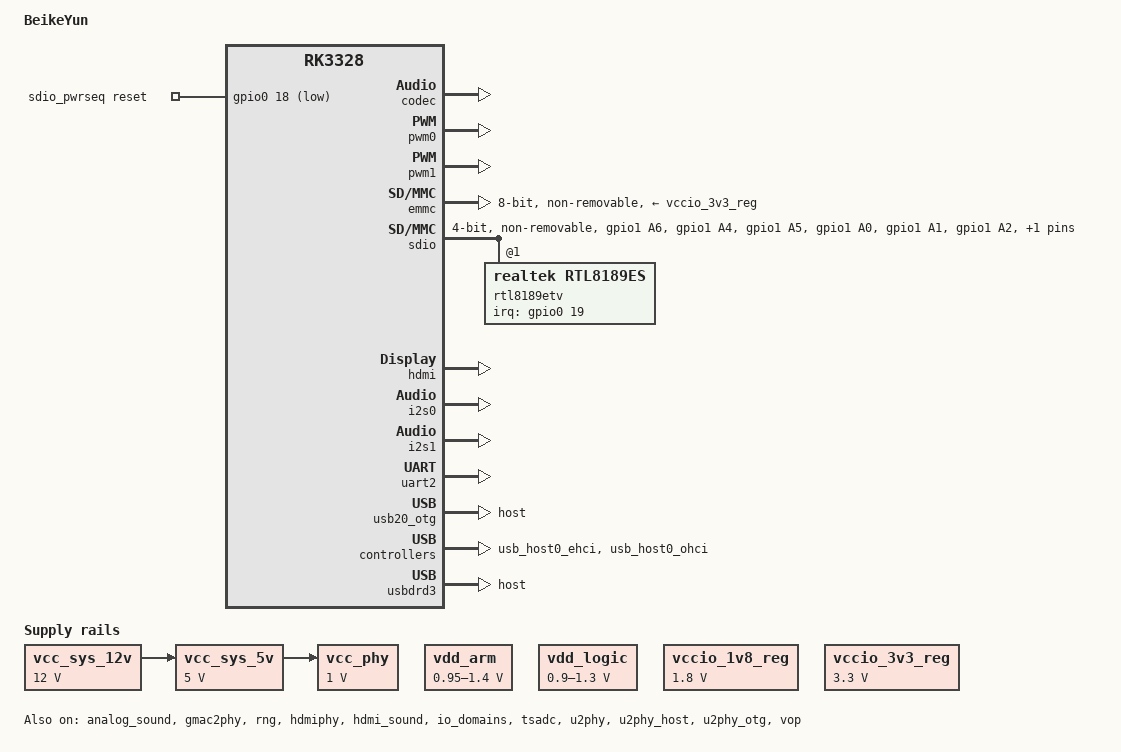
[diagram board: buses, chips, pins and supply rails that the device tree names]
// SPDX-License-Identifier: (GPL-2.0+ OR MIT)
/*
 * Copyright (c) 2017 PINE64
 */

/dts-v1/;
#include "rk3328.dtsi"

/ {
	model = "BeikeYun";
	compatible = "pine64,rock64", "rockchip,rk3328";

 	aliases {
		mmc0 = &emmc;
		mmc1 = &sdmmc;
		// mmc2 = &sdio;
	};

	chosen {
		bootargs = "earlycon=uart8250,mmio32,0xff130000";
		stdout-path = "serial2:1500000n8";
	};

	/*
	leds {
		status = "okay";
		compatible = "gpio-leds";
		red-led {
			label = "red_led";
			gpios = <&gpio2 RK_PD2 GPIO_ACTIVE_HIGH>;
			linux,default-trigger = "mmc0";
			default-state = "on";
		};
		white-led {
			label = "white_led";
			gpios = <&gpio2 RK_PC7 GPIO_ACTIVE_HIGH>;
			linux,default-trigger = "none";
			default-state = "on";
		};
	};
	*/

	/*
	gmac_clkin: external-gmac-clock {
		compatible = "fixed-clock";
		clock-frequency = <125000000>;
		clock-output-names = "gmac_clkin";
		#clock-cells = <0>;
	};
	*/

	sdio_pwrseq: sdio-pwrseq {
		compatible = "mmc-pwrseq-simple";
		pinctrl-names = "default";
		pinctrl-0 = <&wifi_enable_h>;
		reset-gpios = <&gpio0 18 GPIO_ACTIVE_LOW>;	/* WIFI,poweren_gpio */
	};

	vcc_sys_12v: vcc-sys-12v-regulator {
		compatible = "regulator-fixed";
		regulator-name = "vcc_sys_12v";
		regulator-min-microvolt = <12000000>;
		regulator-max-microvolt = <12000000>;
		regulator-always-on;
		regulator-boot-on;
	};

	vcc_sys_5v: vcc-sys-5v-regulator {
		compatible = "regulator-fixed";
		regulator-name = "vcc_sys_5v";
		regulator-min-microvolt = <5000000>;
		regulator-max-microvolt = <5000000>;
		regulator-always-on;
		regulator-boot-on;
		vin-supply = <&vcc_sys_12v>;
	};

	vcc_phy: vcc-phy-regulator {
		compatible = "regulator-fixed";
		regulator-name = "vcc_phy";
		regulator-min-microvolt = <1000000>;
		regulator-max-microvolt = <1000000>;
		regulator-always-on;
		regulator-boot-on;
		vin-supply = <&vcc_sys_5v>;
	};

	vdd_arm: vdd-center {
		compatible = "pwm-regulator";
		rockchip,pwm_id = <0>;
		rockchip,pwm_voltage = <1250000>;
		pwms = <&pwm0 0 5000 1>;
		regulator-name = "vcc_arm";
		regulator-min-microvolt = <950000>;
		regulator-max-microvolt = <1400000>;
		regulator-settling-time-up-us = <250>;
		regulator-ramp-delay = <12500>;
		regulator-always-on;
		regulator-boot-on;
	};

	vdd_logic: vdd-log {
		compatible = "pwm-regulator";
		rockchip,pwm_id = <1>;
		rockchip,pwm_voltage = <1100000>;
		pwms = <&pwm1 0 5000 1>;
		regulator-name = "vcc_log";
		regulator-min-microvolt = <900000>;
		regulator-max-microvolt = <1300000>;
		regulator-settling-time-up-us = <250>;
		regulator-ramp-delay = <12500>;
		regulator-always-on;
		regulator-boot-on;
	};

	regulators {
		compatible = "simple-bus";
		#address-cells = <1>;
		#size-cells = <0>;

		vccio_1v8_reg: regulator@0 {
			compatible = "regulator-fixed";
			regulator-name = "vccio_1v8";
			regulator-min-microvolt = <1800000>;
			regulator-max-microvolt = <1800000>;
			regulator-always-on;
		};

		vccio_3v3_reg: regulator@1 {
			compatible = "regulator-fixed";
			regulator-name = "vccio_3v3";
			regulator-min-microvolt = <3300000>;
			regulator-max-microvolt = <3300000>;
			regulator-always-on;
		};
	};
};

&analog_sound {
	status = "okay";
};

&codec {
	status = "okay";
};

&cpu0 {
	cpu-supply = <&vdd_arm>;
};

&cpu1 {
	cpu-supply = <&vdd_arm>;
};

&cpu2 {
	cpu-supply = <&vdd_arm>;
};

&cpu3 {
	cpu-supply = <&vdd_arm>;
};

&pwm0 {
	status = "okay";
};

&pwm1 {
	status = "okay";
};

&emmc {
	max-frequency = <150000000>;
	bus-width = <8>;
	cap-mmc-highspeed;
	mmc-hs200-1_8v;
	non-removable;
	num-slots = <1>;
	pinctrl-names = "default";
	pinctrl-0 = <&emmc_clk &emmc_cmd &emmc_bus8>;
	vmmc-supply = <&vccio_3v3_reg>;
	vqmmc-supply = <&vccio_1v8_reg>;
	status = "okay";
};

/* SDIO控制器配置 */
&sdio {
	status = "okay";
	#address-cells = <1>;
	#size-cells = <0>;
	pinctrl-names = "default", "idle";
	pinctrl-0 = <&sdmmc0_clk &sdmmc0_cmd &sdmmc0_dectn &sdmmc0_bus4>;
	pinctrl-1 = <&sdmmc0_idle>;
	clocks = <&cru HCLK_SDMMC>, <&cru SCLK_SDMMC>;
	clock-names = "biu", "ciu";
	clock-frequency = <100000000>;
	max-frequency = <100000000>;
	bus-width = <4>;
	cap-sd-highspeed;
	cap-sdio-irq;
	keep-power-in-suspend;
	mmc-pwrseq = <&sdio_pwrseq>;
	non-removable;
	no-sd;
	no-mmc;
	supports-sdio;
	ignore-pm-notify;
	supports-UHS_SDR104;
	sdio_vref = <1800>;	/* 1.8V */

	/* RTL8189ETV-CG设备节点 */
	rtl8189etv: wifi@1 {
		compatible = "realtek,rtl8189es";
		reg = <1>;
		interrupt-parent = <&gpio0>;
		interrupts = <19 IRQ_TYPE_EDGE_RISING>;  /* WIFI,host_wake_irq */
		interrupt-names = "host-wake";
	};
};

&gmac2phy {
	phy-supply = <&vccio_3v3_reg>;
	clock_in_out = "output";
	assigned-clock-rate = <50000000>;
	assigned-clocks = <&cru SCLK_MAC2PHY>;
	assigned-clock-parents = <&cru SCLK_MAC2PHY_SRC>;
	status = "okay";
};

&gmac2io {
	status = "disabled";
};

&gpu {
	mali-supply = <&vdd_logic>;
};

&rng {
	status = "okay";
};

&crypto {
	status = "disabled";
};

&hdmi {
	status = "okay";
	#sound-dai-cells = <0>;
	ddc-i2c-scl-high-time-ns = <9625>;
	ddc-i2c-scl-low-time-ns = <10000>;
};

&hdmiphy {
	status = "okay";
};

&hdmi_sound {
	status = "okay";
};

&i2s0 {
        status = "okay";
};

&i2s1 {
        status = "okay";
};

&codec {
        status = "okay";
};

&io_domains {
	status = "okay";

	vccio1-supply = <&vccio_3v3_reg>;
	vccio2-supply = <&vccio_1v8_reg>;
	vccio3-supply = <&vccio_3v3_reg>;
	vccio4-supply = <&vccio_1v8_reg>;
	vccio5-supply = <&vccio_3v3_reg>;
	vccio6-supply = <&vccio_3v3_reg>;
	pmuio-supply = <&vccio_3v3_reg>;
};

&pinctrl {

	usb2 {
		usb20_host_drv: usb20-host-drv {
			rockchip,pins = <0 RK_PA2 RK_FUNC_GPIO &pcfg_pull_none>;
		};
	};

	usb3 {
		usb30_host_drv: usb30-host-drv {
			rockchip,pins = <0 RK_PA0 RK_FUNC_GPIO &pcfg_pull_none>;
		};
	};

	wifi {
		wifi_enable_h: wifi-enable-h {
		rockchip,pins = <0 RK_PB2 RK_FUNC_GPIO &pcfg_pull_none>;  /* GPIO0_B2 */
		};
	};

	sdmmc0 {
		sdmmc0_clk: sdmmc0-clk {
			rockchip,pins = <1 RK_PA6 1 &pcfg_pull_none>;
		};
		sdmmc0_cmd: sdmmc0-cmd {
			rockchip,pins = <1 RK_PA4 1 &pcfg_pull_up>;
		};
		sdmmc0_dectn: sdmmc0-dectn {
			rockchip,pins = <1 RK_PA5 1 &pcfg_pull_up>;
		};
		sdmmc0_bus4: sdmmc0-bus4 {
			rockchip,pins = <1 RK_PA0 1 &pcfg_pull_up>,
					<1 RK_PA1 1 &pcfg_pull_up>,
					<1 RK_PA2 1 &pcfg_pull_up>,
					<1 RK_PA3 1 &pcfg_pull_up>;
		};
		sdmmc0_idle: sdmmc0-idle {
			rockchip,pins = <1 RK_PA0 RK_FUNC_GPIO &pcfg_pull_none>,
					<1 RK_PA1 RK_FUNC_GPIO &pcfg_pull_none>,
					<1 RK_PA2 RK_FUNC_GPIO &pcfg_pull_none>,
					<1 RK_PA3 RK_FUNC_GPIO &pcfg_pull_none>,
					<1 RK_PA4 RK_FUNC_GPIO &pcfg_pull_none>,
					<1 RK_PA5 RK_FUNC_GPIO &pcfg_pull_none>,
					<1 RK_PA6 RK_FUNC_GPIO &pcfg_pull_none>;
		};
    	};
};

&tsadc {
	rockchip,hw-tshut-mode = <0>;
	rockchip,hw-tshut-polarity = <0>;
	status = "okay";
};

&uart2 {
	status = "okay";
};

&u2phy {
	status = "okay";
};

&u2phy_host {
	status = "okay";
};

&u2phy_otg {
	status = "okay";
};

&usb20_otg {
	dr_mode = "host";
	status = "okay";
};

&usb_host0_ehci {
	status = "okay";
};

&usb_host0_ohci {
	status = "okay";
};

&usbdrd3 {
	dr_mode = "host";
	status = "okay";
};

&vop {
	status = "okay";
};

&vop_mmu {
	status = "okay";
};

&grf_gpio {
	status = "okay";
};

&cpu0_opp_table {

	rockchip,leakage-voltage-sel = <
		1   10    0
		11  254   1
	>;
	nvmem-cells = <&cpu_leakage>;
	nvmem-cell-names = "cpu_leakage";

	opp-408000000 {
		opp-hz = /bits/ 64 <408000000>;
		opp-microvolt = <985000>;
		clock-latency-ns = <40000>;
		opp-suspend;
		status = "disabled";
	};
	opp-600000000 {
		opp-hz = /bits/ 64 <600000000>;
		opp-microvolt = <1025000>;
		clock-latency-ns = <40000>;
	};
	opp-816000000 {
		opp-hz = /bits/ 64 <816000000>;
		opp-microvolt = <1075000>;
		clock-latency-ns = <40000>;
	};
	opp-1008000000 {
		opp-hz = /bits/ 64 <1008000000>;
		opp-microvolt = <1175000>;
		clock-latency-ns = <40000>;
	};
	opp-1200000000 {
		opp-hz = /bits/ 64 <1200000000>;
		opp-microvolt = <1300000>;
		clock-latency-ns = <40000>;
	};
	opp-1296000000 {
		opp-hz = /bits/ 64 <1296000000>;
		opp-microvolt = <1350000>;
		clock-latency-ns = <40000>;
	};
	opp-1392000000 {
		opp-hz = /bits/ 64 <1392000000>;
		opp-microvolt = <1400000>;
		clock-latency-ns = <40000>;
		status = "disabled";
	};
	opp-1512000000 {
		opp-hz = /bits/ 64 <1512000000>;
		opp-microvolt = <1400000>;
		clock-latency-ns = <40000>;
		status = "disabled";
	};
};
